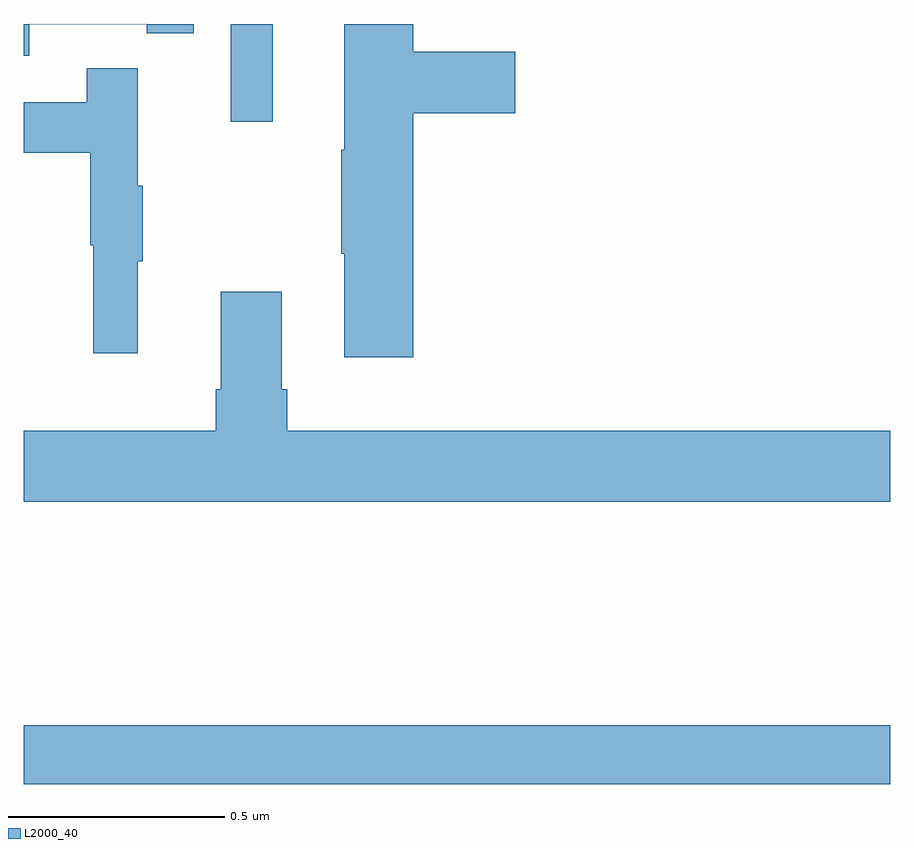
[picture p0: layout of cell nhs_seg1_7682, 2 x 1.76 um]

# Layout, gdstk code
import gdstk
lib = gdstk.Library(unit=1e-6, precision=1e-09)
def R(c, l, rs):  # rectangles x0, y0, x1, y1
    for r in rs: c.add(gdstk.rectangle(r[:2], r[2:], *l))
def P(c, l, *ps):  # polygons
    for p in ps: c.add(gdstk.Polygon(p, *l))
L2000_40 = (2000, 40)

nhs_seg1_7682 = lib.new_cell('nhs_seg1_7682')
R(nhs_seg1_7682, L2000_40, [(207,520.444,209,520.58), (207.477,521.973,207.574,522.199)])
P(nhs_seg1_7682, L2000_40, [(207.012,522.198),(207.284,522.198),(207.284,522.178),(207.392,522.178),(207.392,522.199),(207,522.199),(207,522.126),(207.012,522.126)],
  [(207.899,521.993),(208.135,521.993),(208.135,522.135),(207.899,522.135),(207.899,522.199),(207.74,522.199),(207.74,521.909),(207.733,521.909),(207.733,521.668),(207.74,521.668),(207.74,521.43),(207.899,521.43)],
  [(207.263,521.651),(207.274,521.651),(207.274,521.825),(207.263,521.825),(207.263,522.097),(207.145,522.097),(207.145,522.018),(207,522.018),(207,521.902),(207.153,521.902),(207.153,521.688),(207.16,521.688),(207.16,521.439),(207.263,521.439)],
  [(209,521.26),(207.608,521.26),(207.608,521.356),(207.595,521.356),(207.595,521.581),(207.455,521.581),(207.455,521.356),(207.443,521.356),(207.443,521.26),(207,521.26),(207,521.096),(209,521.096)])

lib.write_gds('nhs_seg1_7682.gds')
